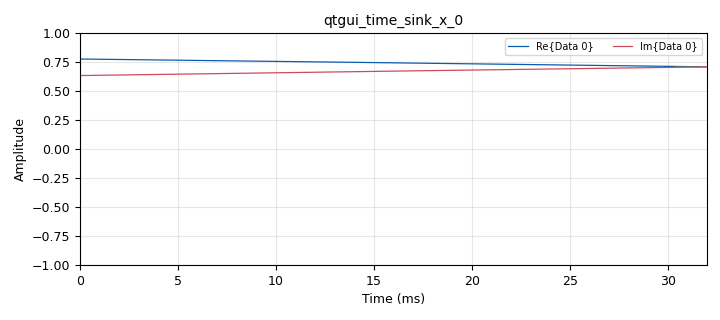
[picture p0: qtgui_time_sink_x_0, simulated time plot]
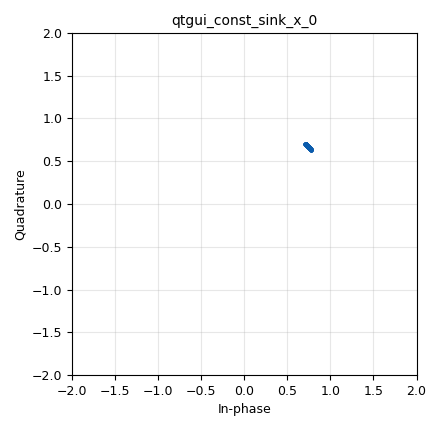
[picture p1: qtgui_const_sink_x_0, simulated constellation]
<?xml version='1.0' encoding='utf-8'?>
<?grc format='1' created='3.7.7'?>
<flow_graph>
<block>
<key>options</key>
<param><key>id</key><value>top_block</value></param>
<param><key>generate_options</key><value>qt_gui</value></param>
<param><key>category</key><value>Custom</value></param>
</block>
<block>
<key>variable</key>
<param><key>id</key><value>samp_rate</value></param>
<param><key>value</key><value>32000</value></param>
</block>
<block>
<key>variable_qtgui_range</key>
<param><key>id</key><value>freq</value></param>
<param><key>value</key><value>0.5</value></param>
<param><key>start</key><value>0</value></param>
<param><key>stop</key><value>2.0</value></param>
<param><key>step</key><value>0.1</value></param>
<param><key>orient</key><value>Qt.Horizontal</value></param>
</block>
<block>
<key>variable_qtgui_range</key>
<param><key>id</key><value>amplitude</value></param>
<param><key>value</key><value>1</value></param>
<param><key>start</key><value>0</value></param>
<param><key>stop</key><value>2.0</value></param>
<param><key>step</key><value>0.1</value></param>
<param><key>orient</key><value>Qt.Horizontal</value></param>
</block>
<block>
<key>analog_sig_source_x</key>
<param><key>id</key><value>analog_sig_source_x_0</value></param>
<param><key>type</key><value>complex</value></param>
<param><key>samp_rate</key><value>samp_rate</value></param>
<param><key>waveform</key><value>analog.GR_COS_WAVE</value></param>
<param><key>freq</key><value>freq</value></param>
<param><key>amp</key><value>amplitude</value></param>
<param><key>offset</key><value>0</value></param>
</block>
<block>
<key>blocks_throttle</key>
<param><key>id</key><value>blocks_throttle_0</value></param>
<param><key>type</key><value>complex</value></param>
<param><key>samples_per_second</key><value>samp_rate</value></param>
</block>
<block>
<key>qtgui_time_sink_x</key>
<param><key>id</key><value>qtgui_time_sink_x_0</value></param>
<param><key>type</key><value>complex</value></param>
<param><key>size</key><value>1024</value></param>
<param><key>srate</key><value>samp_rate</value></param>
<param><key>label1</key><value></value></param>
<param><key>color1</key><value>"blue"</value></param>
<param><key>label2</key><value></value></param>
<param><key>color2</key><value>"red"</value></param>
</block>
<block>
<key>qtgui_const_sink_x</key>
<param><key>id</key><value>qtgui_const_sink_x_0</value></param>
<param><key>type</key><value>complex</value></param>
<param><key>size</key><value>1024</value></param>
</block>
<connection><source_block_id>analog_sig_source_x_0</source_block_id><sink_block_id>blocks_throttle_0</sink_block_id><source_key>0</source_key><sink_key>0</sink_key></connection>
<connection><source_block_id>blocks_throttle_0</source_block_id><sink_block_id>qtgui_const_sink_x_0</sink_block_id><source_key>0</source_key><sink_key>0</sink_key></connection>
<connection><source_block_id>blocks_throttle_0</source_block_id><sink_block_id>qtgui_time_sink_x_0</sink_block_id><source_key>0</source_key><sink_key>0</sink_key></connection>
</flow_graph>
